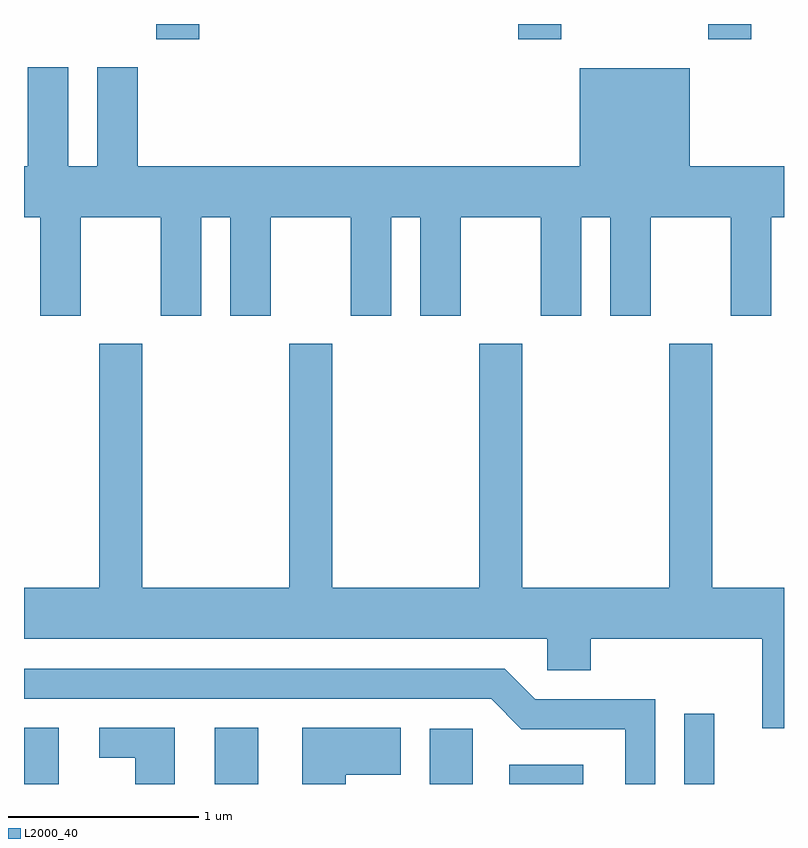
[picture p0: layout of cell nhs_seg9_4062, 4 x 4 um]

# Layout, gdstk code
import gdstk
lib = gdstk.Library(unit=1e-6, precision=1e-09)
def R(c, l, rs):  # rectangles x0, y0, x1, y1
    for r in rs: c.add(gdstk.rectangle(r[:2], r[2:], *l))
def P(c, l, *ps):  # polygons
    for p in ps: c.add(gdstk.Polygon(p, *l))
L2000_40 = (2000, 40)

nhs_seg9_4062 = lib.new_cell('nhs_seg9_4062')
R(nhs_seg9_4062, L2000_40, [(305.611,1944.432,305.794,1944.729), (306.616,1944.432,306.844,1944.729), (307.746,1944.432,307.974,1944.724), (308.166,1944.432,308.554,1944.534), (309.086,1944.432,309.244,1944.803), (306.306,1948.351,306.534,1948.432), (308.211,1948.351,308.439,1948.432), (309.211,1948.351,309.439,1948.432)])
P(nhs_seg9_4062, L2000_40, [(305.844,1948.204),(305.631,1948.204),(305.631,1947.684),(305.611,1947.684),(305.611,1947.416),(305.696,1947.416),(305.696,1946.896),(305.909,1946.896),(305.909,1947.416),(306.331,1947.416),(306.331,1946.896),(306.544,1946.896),(306.544,1947.416),(306.696,1947.416),(306.696,1946.896),(306.909,1946.896),(306.909,1947.416),(307.331,1947.416),(307.331,1946.896),(307.544,1946.896),(307.544,1947.416),(307.696,1947.416),(307.696,1946.896),(307.909,1946.896),(307.909,1947.416),(308.331,1947.416),(308.331,1946.896),(308.544,1946.896),(308.544,1947.416),(308.696,1947.416),(308.696,1946.896),(308.909,1946.896),(308.909,1947.416),(309.331,1947.416),(309.331,1946.896),(309.544,1946.896),(309.544,1947.416),(309.611,1947.416),(309.611,1947.684),(309.114,1947.684),(309.114,1948.199),(308.536,1948.199),(308.536,1947.684),(306.209,1947.684),(306.209,1948.204),(305.996,1948.204),(305.996,1947.684),(305.844,1947.684)],
  [(309.611,1945.464),(309.234,1945.464),(309.234,1946.749),(309.006,1946.749),(309.006,1945.464),(308.234,1945.464),(308.234,1946.749),(308.006,1946.749),(308.006,1945.464),(307.234,1945.464),(307.234,1946.749),(307.006,1946.749),(307.006,1945.464),(306.234,1945.464),(306.234,1946.749),(306.006,1946.749),(306.006,1945.464),(305.611,1945.464),(305.611,1945.196),(308.366,1945.196),(308.366,1945.031),(308.594,1945.031),(308.594,1945.196),(309.496,1945.196),(309.496,1944.726),(309.611,1944.726)],
  [(308.934,1944.879),(308.302,1944.879),(308.142,1945.039),(305.611,1945.039),(305.611,1944.881),(308.069,1944.881),(308.229,1944.721),(308.776,1944.721),(308.776,1944.432),(308.934,1944.432)],
  [(307.304,1944.481),(307.594,1944.481),(307.594,1944.729),(307.076,1944.729),(307.076,1944.432),(307.304,1944.432)],
  [(306.404,1944.729),(306.008,1944.729),(306.008,1944.571),(306.196,1944.571),(306.196,1944.432),(306.404,1944.432)])

lib.write_gds('nhs_seg9_4062.gds')
